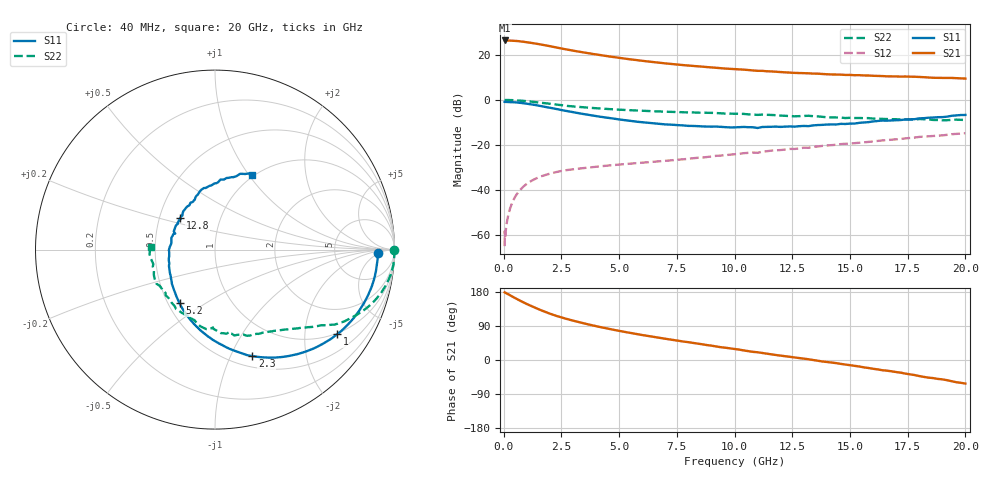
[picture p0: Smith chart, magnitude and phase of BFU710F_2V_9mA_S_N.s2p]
! Filename:  P:\Prog\Test\Noise\ATS_data\Testdata_Net\BFU710\BFU710_2W_A1_2V9mA_D.s2p
! Date/Time: Fri 29/Apr/2011 13:27:06
! BFU710_2W_A1_2V9mA
! bias mode 1: Vout= 2.0000 V, Iout= 9.0350 mA, Vin= 0.8322 V, Iin= 0.0346 mA
! Date/time Wed Mar 16 10:04:21 2011
! Device data file deembeded for feedlines and parallel
! Original file: \BFU710\BFU710_2W_A1_2V9mA_R.s2p
! Feed-files: PR003V01_101208_Feed1.s2p, PR003V01_101208_Feed2.s2p
! Parallel-file: PR003V01_101208_Par.s2p
# MHz S MA R 50
!  Freq-MHz  S11-mag  S11-arg  S21-mag  S21-arg  S12-mag  S12-arg  S22-mag  S22-arg
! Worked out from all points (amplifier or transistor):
!   167 points, 40 MHz to 20 GHz, reference 50 ohm
!   highest |S21| = 26.5 dB at 50 MHz (marker M1)
!   |S21| within 3 dB of that: start of sweep to 2.227 GHz
!   unconditionally stable (mu >= 1): 5.381 GHz to 15.87 GHz
!   at 550 MHz: K = 0.07, MSG = 34.2 dB, |S12| = -42.1 dB
!   at 4.2 GHz: K = 0.83, MSG = 24.7 dB, |S12| = -29.5 dB
!   at 20 GHz: K = 0.78, MSG = 12.1 dB, |S12| = -14.7 dB
!   lowest NFmin = 0.97 dB at 400 MHz
!   S11 on the Smith chart (normalised r, x): 40 MHz: 20, -5; 1 GHz: 0.97, -2.91; 2.3 GHz: 0.62, -1.21; 5.2 GHz: 0.57, -0.39; 12.8 GHz: 0.64, +0.24; 20 GHz: 0.98, +1.04
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40  0.9076 -1.3  21 178.4  0.0005628 88.6  0.9972 0.0
50  0.9026 -2.1  21.07 177.7  0.001223 82.6  0.9978 -0.3
60  0.9067 -1.8  20.84 177.6  0.0008246 76.9  0.9993 -0.5
240  0.9031 -8.5  21 172.0  0.003345 87.6  0.9981 -4.1
460  0.8903 -16.4  20.71 164.7  0.006505 83.4  0.989 -8.0
800  0.8548 -28.1  19.91 153.8  0.01118 76.0  0.9616 -13.7
1000  0.8287 -34.6  19.28 147.8  0.01367 72.0  0.9409 -16.8
1350  0.776 -45.5  18.06 138.1  0.0175 66.1  0.9002 -21.6
1600  0.7363 -52.6  17.18 131.8  0.01986 62.4  0.8713 -24.6
1900  0.6891 -60.8  16.11 124.5  0.02228 58.7  0.8364 -27.8
2300  0.629 -70.6  14.65 116.1  0.02509 54.8  0.7909 -31.8
2800  0.5591 -81.6  13.06 107.2  0.02796 50.1  0.7344 -35.0
3400  0.4928 -93.1  11.55 97.8  0.03037 47.2  0.6926 -38.5
4200  0.4231 -107.2  9.927 86.7  0.03361 44.7  0.6452 -42.5
5200  0.3586 -123.4  8.374 74.5  0.03743 42.5  0.6021 -47.5
6800  0.2925 -146.9  6.683 58.1  0.04349 41.1  0.5555 -55.2
8200  0.265 -165.8  5.728 45.0  0.05059 40.6  0.5284 -62.7
10200  0.2485 167.8  4.796 27.4  0.06362 37.5  0.4908 -75.3
12800  0.2616 137.4  3.981 5.6  0.0837 30.2  0.4384 -92.4
13400  0.272 131.6  3.865 -0.0  0.09115 28.4  0.4373 -99.8
16800  0.3507 97.0  3.353 -29.8  0.13 12.1  0.374 -133.4
20000  0.465 63.5  2.995 -62.2  0.1831 -10.2  0.3592 177.6
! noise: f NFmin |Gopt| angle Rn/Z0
400  0.9743  0.4797  3.05  0.3215
850  0.9804  0.4738  7.64  0.3175
1500  0.9915  0.4641  13.92  0.3107
2150  1.005  0.4526  19.9  0.3029
3100  1.03  0.4321  28.34  0.2898
4300  1.069  0.4007  38.93  0.2712
6200  1.149  0.3433  56.88  0.239
8800  1.295  0.2682  86.11  0.1955
1.14e+04  1.482  0.2073  120.7  0.1609
1.4e+04  1.712  0.1391  167.3  0.1443
